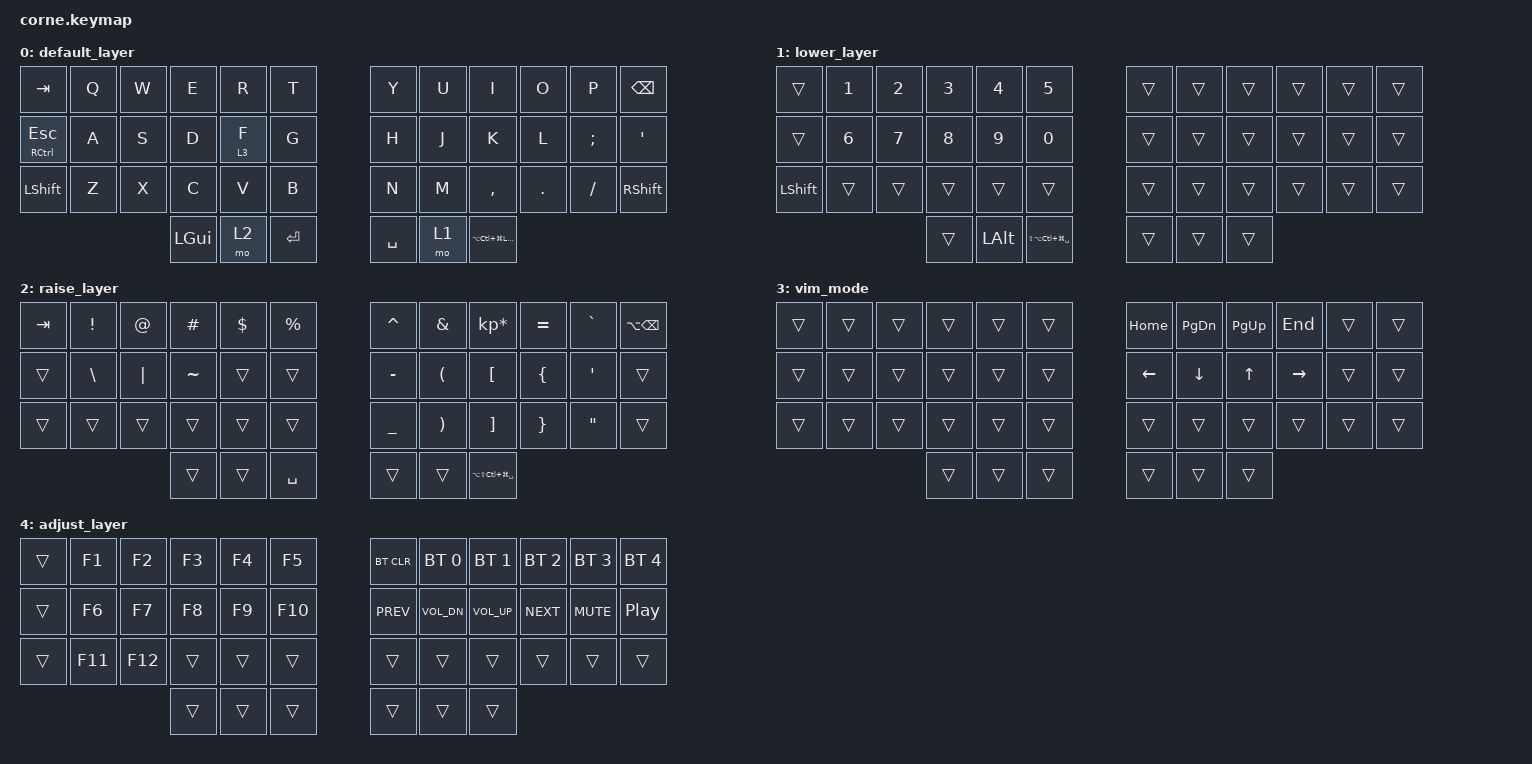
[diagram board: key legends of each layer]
/*
 * Copyright (c) 2020 The ZMK Contributors
 *
 * SPDX-License-Identifier: MIT
 */

#include <behaviors.dtsi>
#include <dt-bindings/zmk/bt.h>
#include <dt-bindings/zmk/keys.h>

/ {
    behaviors {
        ltt: Layer-Tap-Thumb {
            compatible = "zmk,behavior-hold-tap";
            label = "Layer-Tap-Thumb";
            bindings = <&mo>, <&kp>;

            #binding-cells = <2>;
            tapping-term-ms = <125>;
            quick-tap-ms = <100>;
            flavor = "tap-unless-interrupted";
        };
    };

    keymap {
        compatible = "zmk,keymap";

        default_layer {
            // -----------------------------------------------------------------------------------------
            // |  TAB |  Q  |  W  |  E  |  R  |  T  |   |  Y  |  U   |  I  |  O  |  P  | BKSP |
            // | CTRL |  A  |  S  |  D  |  F  |  G  |   |  H  |  J   |  K  |  L  |  ;  |  '   |
            // | SHFT |  Z  |  X  |  C  |  V  |  B  |   |  N  |  M   |  ,  |  .  |  /  | ESC  |
            //                    | GUI | LWR | SPC |   | ENT | RSE  | ALT |

            bindings = <
&kp TAB           &kp Q  &kp W  &kp E         &kp R    &kp T        &kp Y      &kp U  &kp I                       &kp O    &kp P     &kp BSPC
&mt RCTRL ESCAPE  &kp A  &kp S  &kp D         &lt 3 F  &kp G        &kp H      &kp J  &kp K                       &kp L    &kp SEMI  &kp SQT
&kp LSHFT         &kp Z  &kp X  &kp C         &kp V    &kp B        &kp N      &kp M  &kp COMMA                   &kp DOT  &kp FSLH  &kp RIGHT_SHIFT
                                &kp LEFT_GUI  &mo 2    &kp ENTER    &kp SPACE  &mo 1  &kp LA(LC(LG(LEFT_SHIFT)))
            >;
        };

        lower_layer {
            // -----------------------------------------------------------------------------------------
            // |  TAB |  1  |  2  |  3  |  4  |  5  |   |  6  |  7  |  8  |  9  |  0  | BKSP |
            // | BTCLR| BT1 | BT2 | BT3 | BT4 | BT5 |   | LFT | DWN |  UP | RGT |     |      |
            // | SHFT |     |     |     |     |     |   |     |     |     |     |     |      |
            //                    | GUI |     | SPC |   | ENT |     | ALT |

            bindings = <
&trans     &kp N1  &kp N2  &kp N3  &kp N4        &kp N5                       &trans  &trans  &trans  &trans  &trans  &trans
&trans     &kp N6  &kp N7  &kp N8  &kp N9        &kp N0                       &trans  &trans  &trans  &trans  &trans  &trans
&kp LSHFT  &trans  &trans  &trans  &trans        &trans                       &trans  &trans  &trans  &trans  &trans  &trans
                           &trans  &kp LEFT_ALT  &kp LS(LA(LC(LG(SPACE))))    &trans  &trans  &trans
            >;
        };

        raise_layer {
            // -----------------------------------------------------------------------------------------
            // |  TAB |  !  |  @  |  #  |  $  |  %  |   |  ^  |  &  |  *  |  (  |  )  | BKSP |
            // | CTRL |     |     |     |     |     |   |  -  |  =  |  [  |  ]  |  \  |  `   |
            // | SHFT |     |     |     |     |     |   |  _  |  +  |  {  |  }  | "|" |  ~   |
            //                    | GUI |     | SPC |   | ENT |     | ALT |

            bindings = <
&kp TAB  &kp EXCL       &kp AT    &kp HASH   &kp DLLR  &kp PRCNT    &kp CARET  &kp AMPS               &kp KP_MULTIPLY            &kp EQUAL       &kp GRAVE          &kp LA(BSPC)
&trans   &kp BACKSLASH  &kp PIPE  &kp TILDE  &trans    &trans       &kp MINUS  &kp LEFT_PARENTHESIS   &kp LBKT                   &kp LEFT_BRACE  &kp SINGLE_QUOTE   &trans
&trans   &trans         &trans    &trans     &trans    &trans       &kp UNDER  &kp RIGHT_PARENTHESIS  &kp RBKT                   &kp RBRC        &kp DOUBLE_QUOTES  &trans
                                  &trans     &trans    &kp SPACE    &trans     &trans                 &kp LA(LS(LC(LG(SPACE))))
            >;
        };

        vim_mode {
            bindings = <
&trans  &trans  &trans  &trans  &trans  &trans    &kp HOME        &kp PAGE_DOWN   &kp PAGE_UP   &kp END          &trans  &trans
&trans  &trans  &trans  &trans  &trans  &trans    &kp LEFT_ARROW  &kp DOWN_ARROW  &kp UP_ARROW  &kp RIGHT_ARROW  &trans  &trans
&trans  &trans  &trans  &trans  &trans  &trans    &trans          &trans          &trans        &trans           &trans  &trans
                        &trans  &trans  &trans    &trans          &trans          &trans
            >;
        };

        adjust_layer {
            bindings = <
&trans  &kp F1   &kp F2   &kp F3  &kp F4  &kp F5     &bt BT_CLR  &bt BT_SEL 0  &bt BT_SEL 1  &bt BT_SEL 2  &bt BT_SEL 3  &bt BT_SEL 4
&trans  &kp F6   &kp F7   &kp F8  &kp F9  &kp F10    &kp C_PREV  &kp C_VOL_DN  &kp C_VOL_UP  &kp C_NEXT    &kp C_MUTE    &kp C_PLAY_PAUSE
&trans  &kp F11  &kp F12  &trans  &trans  &trans     &trans      &trans        &trans        &trans        &trans        &trans
                          &trans  &trans  &trans     &trans      &trans        &trans
            >;
        };
    };

    conditional_layers {
        compatible = "zmk,conditional-layers";

        adjust {
            if-layers = <1 2>;
            then-layer = <4>;
        };
    };
};
